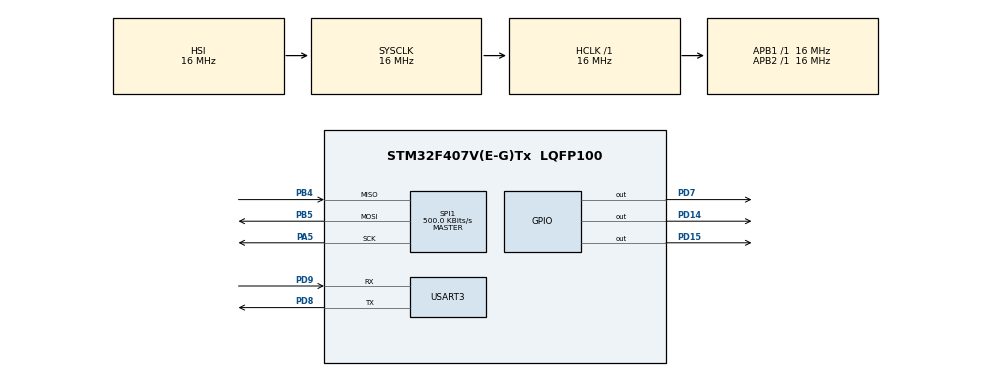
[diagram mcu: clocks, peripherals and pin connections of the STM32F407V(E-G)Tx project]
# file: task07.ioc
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Mcu.Family=STM32F4
Mcu.Name=STM32F407V(E-G)Tx
Mcu.Package=LQFP100
NVIC.PriorityGroup=NVIC_PRIORITYGROUP_4
PA5.Mode=Full_Duplex_Master
PA5.Signal=SPI1_SCK
PB4.Mode=Full_Duplex_Master
PB4.Signal=SPI1_MISO
PB5.Mode=Full_Duplex_Master
PB5.Signal=SPI1_MOSI
PD14.Signal=GPIO_Output
PD15.Signal=GPIO_Output
PD7.Signal=GPIO_Output
PD8.Mode=Asynchronous
PD8.Signal=USART3_TX
PD9.Mode=Asynchronous
PD9.Signal=USART3_RX
ProjectManager.HeapSize=0x200
ProjectManager.StackSize=0x400
ProjectManager.TargetToolchain=STM32CubeIDE
RCC.AHBFreq_Value=16000000
RCC.APB1Freq_Value=16000000
RCC.APB2Freq_Value=16000000
RCC.CortexFreq_Value=16000000
RCC.HSE_VALUE=25000000
RCC.HSI_VALUE=16000000
RCC.LSE_VALUE=32768
RCC.SYSCLKFreq_VALUE=16000000
RCC.VCOOutputFreq_Value=192000000
SPI1.BaudRatePrescaler=SPI_BAUDRATEPRESCALER_32
SPI1.CLKPolarity=SPI_POLARITY_LOW
SPI1.CalculateBaudRate=500.0 KBits/s
SPI1.DataSize=SPI_DATASIZE_8BIT
SPI1.Direction=SPI_DIRECTION_2LINES
SPI1.FirstBit=SPI_FIRSTBIT_MSB
SPI1.Mode=SPI_MODE_MASTER
SPI1.VirtualType=VM_MASTER
USART3.VirtualMode=VM_ASYNC
board=custom

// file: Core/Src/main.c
/* USER CODE BEGIN Header */
/**
  ******************************************************************************
  * @file           : main.c
  * @brief          : Main program body
  ******************************************************************************
  * @attention
  *
  * Copyright (c) 2023 STMicroelectronics.
  * All rights reserved.
  *
  * This software is licensed under terms that can be found in the LICENSE file
  * in the root directory of this software component.
  * If no LICENSE file comes with this software, it is provided AS-IS.
  *
  ******************************************************************************
  */
/* USER CODE END Header */
#include "main.h"

/* USER CODE BEGIN Includes */
#include "stdlib.h"
#include <string.h>
/* USER CODE END Includes */

/* USER CODE BEGIN PD */

#define MEMORY_SIZE 0x1FFFFF // Total size of the SST25VF016B memory in bytes
#define PAGE_SIZE 256 // Size of a memory page in bytes
#define BUFFER_SIZE 1024 // Size of the buffer to read data from the memory

/* USER CODE END PD */

SPI_HandleTypeDef hspi1;

UART_HandleTypeDef huart3;

/* USER CODE BEGIN PV */

uint8_t dataI[BUFFER_SIZE] = { 0 };

/* USER CODE END PV */

void SystemClock_Config(void);
static void MX_GPIO_Init(void);
static void MX_SPI1_Init(void);
static void MX_USART3_UART_Init(void);
/* USER CODE BEGIN PFP */

void readDataFromFlash();
void writeByteDataInFlash();
void writeAAIDataInFlash(char* message);
void openBlockDataProtectionFlash();

/* USER CODE END PFP */

/* USER CODE BEGIN 0 */

typedef enum
{
	NO =  0,
	YES = 1
} read_data_t;

read_data_t readData = NO;

char textForSend[] = 	" From: Svyatoslav Dombrovskyi, svyat.xxi@gmail.com \r\n"
						" Mentor: Artem Dovhal, artem.dovhal@globallogic.com \r\n"
						" Date: 28.03.2023 \r\n"
						" TIME CAPSULE \r\n"
						"Real human being \r\n"
						"And a real hero \r\n"
						"Back against the wall and odds \r\n"
						"With the strength of a will and a cause \r\n"
						"Your pursuits are called outstanding \r\n"
						"You're emotionally complex \r\n"
						"Against the grain of dystopic claims \r\n"
						"Not the thoughts your actions entertain \r\n"
						"And you have proved to be \r\n"
						"A real human being and a real hero \r\n"
						"Real human being and a real hero x3 \r\n"
						"Real human being \r\n";
/*						"A pilot on a cold, cold morn' \r\n"
						"155 people on board \r\n"
						"All safe and all rescued \r\n"
						"From the slowly sinking ship \r\n"
						"Water warmer than his head so cool \r\n"
						"In that tight bind knew what to do \r\n"
						"And you have proved to be \r\n"
						"A real human being and a real hero \r\n"
						"Real human being and a real hero x3 \r\n"
						"Real human being x3 \r\n";*/

/* USER CODE END 0 */

int main(void)
{

  /* MCU Configuration--------------------------------------------------------*/

  /* Reset of all peripherals, Initializes the Flash interface and the Systick. */
  HAL_Init();

  /* Configure the system clock */
  SystemClock_Config();

  /* Initialize all configured peripherals */
  MX_GPIO_Init();
  MX_SPI1_Init();
  MX_USART3_UART_Init();

  /* Infinite loop */
  /* USER CODE BEGIN WHILE */

  // CS = HIGH
  HAL_GPIO_WritePin(GPIOD, GPIO_PIN_7, GPIO_PIN_SET);
  HAL_Delay(100);

  // Prepare Transmit and Receive Arrays
  uint8_t TransmitArray[20] = { 0 };
  uint8_t ReceiveArray[20]  = { 0 };

  //Prepare READ-ID command
  TransmitArray[0] = 0x05;

  while (1)
  {
		uint8_t rcvBuf[1];
		HAL_StatusTypeDef result;

		result = HAL_UART_Receive(&huart3, rcvBuf, 1, 10);

		if (result == HAL_OK)
		{
			if (rcvBuf[0] == 's') //show data
			{
				if (readData == YES)
				{
					HAL_GPIO_TogglePin(GPIOD, GPIO_PIN_15);
					HAL_UART_Transmit(&huart3, (uint8_t *)dataI, BUFFER_SIZE, HAL_MAX_DELAY);
				}
				else
				{
					char message[] = "First read data from flash\r\n";
					HAL_UART_Transmit(&huart3, (uint8_t *) message, sizeof(message), 100);
				}
				HAL_Delay(1000);
			}

			if (rcvBuf[0] == 'r') //read data from flash
			{
				  HAL_UART_Transmit(&huart3, (uint8_t *)"Reading...\r\n", 12, 100);
				  readDataFromFlash();
				  HAL_UART_Transmit(&huart3, (uint8_t *)"\r\ndata was read", 16, 100);
				  HAL_Delay(1000);
			}

			if (rcvBuf[0] == 'w') //write data in flash
			{
				  HAL_UART_Transmit(&huart3, (uint8_t *)"Writing...", 10, 100);
				  writeByteDataInFlash();
				  HAL_UART_Transmit(&huart3, (uint8_t *)"Data was write", 14, 100);
				  HAL_Delay(1000);
			}

			if (rcvBuf[0] == 'a') //auto address increment write data in flash
			{
				  HAL_UART_Transmit(&huart3, (uint8_t *)"Writing AAI...", 13, 100);
				  writeAAIDataInFlash(textForSend);
				  HAL_UART_Transmit(&huart3, (uint8_t *)"Data was write", 14, 100);
				  HAL_Delay(1000);
			}

			if (rcvBuf[0] == 'c') //auto address increment write data in flash
			{
				  TransmitArray[0] = 0x06; //WREN
				  HAL_GPIO_WritePin(GPIOD, GPIO_PIN_7, GPIO_PIN_RESET);
				  HAL_SPI_Transmit(&hspi1, TransmitArray, 1, 100);
				  HAL_GPIO_WritePin(GPIOD, GPIO_PIN_7, GPIO_PIN_SET);

				  TransmitArray[0] = 0x60;  //clear cheap

				  HAL_UART_Transmit(&huart3, (uint8_t *)"Clear chip...", 13, 100);

				  HAL_GPIO_WritePin(GPIOD, GPIO_PIN_7, GPIO_PIN_RESET);
				  HAL_SPI_Transmit(&hspi1, TransmitArray, 1, 1000);
				  HAL_GPIO_WritePin(GPIOD, GPIO_PIN_7, GPIO_PIN_SET);

				  HAL_UART_Transmit(&huart3, (uint8_t *)"Cleared chip...", 15, 100);
				  HAL_Delay(1000);
			}

			if (rcvBuf[0] == 'x') //read register data from flash
			{
				  TransmitArray[0] = 0x05;

				  HAL_UART_Transmit(&huart3, (uint8_t *)"Read register data...\r\n", 23, 100);

				  HAL_GPIO_WritePin(GPIOD, GPIO_PIN_7, GPIO_PIN_RESET);
				  HAL_SPI_Transmit(&hspi1, TransmitArray, 1, 100);
				  HAL_SPI_Receive(&hspi1, ReceiveArray, 1, 100);
				  HAL_GPIO_WritePin(GPIOD, GPIO_PIN_7, GPIO_PIN_SET);

				  char binString[8] = { '0' };
				  itoa(ReceiveArray[0], binString, 2);
				  HAL_UART_Transmit(&huart3, (uint8_t *)binString, strlen(binString), 100);
				  HAL_Delay(1000);
			}

			if (rcvBuf[0] == 'e') //WREN
			{
				TransmitArray[0] = 0x06;

				HAL_UART_Transmit(&huart3, (uint8_t *)"WREN...", 8, 100);

				HAL_GPIO_WritePin(GPIOD, GPIO_PIN_7, GPIO_PIN_RESET);
				HAL_SPI_Transmit(&hspi1, TransmitArray, 1, 100);
				HAL_GPIO_WritePin(GPIOD, GPIO_PIN_7, GPIO_PIN_SET);

				HAL_UART_Transmit(&huart3, (uint8_t *)"WREN.OK", 8, 100);
				HAL_Delay(1000);
			}

			if (rcvBuf[0] == 'o') //Open block write protection
			{
				HAL_UART_Transmit(&huart3, (uint8_t *)"Open BWP...\r\n", 13, 100);
				openBlockDataProtectionFlash();
				HAL_UART_Transmit(&huart3, (uint8_t *)"BWP is disable", 14, 100);
				HAL_Delay(1000);
			}
		}

	HAL_Delay(100);

    /* USER CODE END WHILE */

  }
}

void SystemClock_Config(void)
{
  RCC_OscInitTypeDef RCC_OscInitStruct = {0};
  RCC_ClkInitTypeDef RCC_ClkInitStruct = {0};

  /** Configure the main internal regulator output voltage
  */
  __HAL_RCC_PWR_CLK_ENABLE();
  __HAL_PWR_VOLTAGESCALING_CONFIG(PWR_REGULATOR_VOLTAGE_SCALE1);

  /** Initializes the RCC Oscillators according to the specified parameters
  * in the RCC_OscInitTypeDef structure.
  */
  RCC_OscInitStruct.OscillatorType = RCC_OSCILLATORTYPE_HSI;
  RCC_OscInitStruct.HSIState = RCC_HSI_ON;
  RCC_OscInitStruct.HSICalibrationValue = RCC_HSICALIBRATION_DEFAULT;
  RCC_OscInitStruct.PLL.PLLState = RCC_PLL_NONE;
  if (HAL_RCC_OscConfig(&RCC_OscInitStruct) != HAL_OK)
  {
    Error_Handler();
  }

  /** Initializes the CPU, AHB and APB buses clocks
  */
  RCC_ClkInitStruct.ClockType = RCC_CLOCKTYPE_HCLK|RCC_CLOCKTYPE_SYSCLK
                              |RCC_CLOCKTYPE_PCLK1|RCC_CLOCKTYPE_PCLK2;
  RCC_ClkInitStruct.SYSCLKSource = RCC_SYSCLKSOURCE_HSI;
  RCC_ClkInitStruct.AHBCLKDivider = RCC_SYSCLK_DIV1;
  RCC_ClkInitStruct.APB1CLKDivider = RCC_HCLK_DIV1;
  RCC_ClkInitStruct.APB2CLKDivider = RCC_HCLK_DIV1;

  if (HAL_RCC_ClockConfig(&RCC_ClkInitStruct, FLASH_LATENCY_0) != HAL_OK)
  {
    Error_Handler();
  }
}

static void MX_SPI1_Init(void)
{

  /* SPI1 parameter configuration*/
  hspi1.Instance = SPI1;
  hspi1.Init.Mode = SPI_MODE_MASTER;
  hspi1.Init.Direction = SPI_DIRECTION_2LINES;
  hspi1.Init.DataSize = SPI_DATASIZE_8BIT;
  hspi1.Init.CLKPolarity = SPI_POLARITY_LOW;
  hspi1.Init.CLKPhase = SPI_PHASE_1EDGE;
  hspi1.Init.NSS = SPI_NSS_SOFT;
  hspi1.Init.BaudRatePrescaler = SPI_BAUDRATEPRESCALER_32;
  hspi1.Init.FirstBit = SPI_FIRSTBIT_MSB;
  hspi1.Init.TIMode = SPI_TIMODE_DISABLE;
  hspi1.Init.CRCCalculation = SPI_CRCCALCULATION_DISABLE;
  hspi1.Init.CRCPolynomial = 10;
  if (HAL_SPI_Init(&hspi1) != HAL_OK)
  {
    Error_Handler();
  }

}

static void MX_USART3_UART_Init(void)
{

  huart3.Instance = USART3;
  huart3.Init.BaudRate = 115200;
  huart3.Init.WordLength = UART_WORDLENGTH_8B;
  huart3.Init.StopBits = UART_STOPBITS_1;
  huart3.Init.Parity = UART_PARITY_NONE;
  huart3.Init.Mode = UART_MODE_TX_RX;
  huart3.Init.HwFlowCtl = UART_HWCONTROL_NONE;
  huart3.Init.OverSampling = UART_OVERSAMPLING_16;
  if (HAL_UART_Init(&huart3) != HAL_OK)
  {
    Error_Handler();
  }

}

static void MX_GPIO_Init(void)
{
  GPIO_InitTypeDef GPIO_InitStruct = {0};

  /* GPIO Ports Clock Enable */
  __HAL_RCC_GPIOA_CLK_ENABLE();
  __HAL_RCC_GPIOD_CLK_ENABLE();
  __HAL_RCC_GPIOB_CLK_ENABLE();

  /*Configure GPIO pin Output Level */
  HAL_GPIO_WritePin(GPIOD, GPIO_PIN_14|GPIO_PIN_15|GPIO_PIN_7, GPIO_PIN_RESET);

  /*Configure GPIO pins : PD14 PD15 PD7 */
  GPIO_InitStruct.Pin = GPIO_PIN_14|GPIO_PIN_15|GPIO_PIN_7;
  GPIO_InitStruct.Mode = GPIO_MODE_OUTPUT_PP;
  GPIO_InitStruct.Pull = GPIO_NOPULL;
  GPIO_InitStruct.Speed = GPIO_SPEED_FREQ_LOW;
  HAL_GPIO_Init(GPIOD, &GPIO_InitStruct);

}

/* USER CODE BEGIN 4 */

void readDataFromFlash()
{
	uint8_t buffer[BUFFER_SIZE] = { 0 };
	uint32_t address;

	for (uint32_t j = 0; j < BUFFER_SIZE; ++j)
	{
		dataI[j] = 0;
	}

	HAL_GPIO_WritePin(GPIOD, GPIO_PIN_14, GPIO_PIN_SET); //red LED on
	address = 0;
	for (address = 0; address < MEMORY_SIZE+1; address += BUFFER_SIZE)
	{
		// Set the chip select signal low to select the SST25VF016B memory
		HAL_GPIO_WritePin(GPIOD, GPIO_PIN_7, GPIO_PIN_RESET);

		// Send the Read command (0x03) and address to the memory
		uint8_t address_bytes[20];
		address_bytes[0] = (address >> 16) & 0xFF;
		address_bytes[1] = (address >> 8) & 0xFF;
		address_bytes[2] = address & 0xFF;
		HAL_SPI_Transmit(&hspi1, (uint8_t[]) {0x03, address_bytes[0], address_bytes[1], address_bytes[2]}, 4, 100);

		// Receive data from the memory into the buffer
		HAL_SPI_Receive(&hspi1, buffer, BUFFER_SIZE, 1000);

		// Set the chip select signal high to deselect the SST25VF016B memory
		HAL_GPIO_WritePin(GPIOD, GPIO_PIN_7, GPIO_PIN_SET);

		for (uint16_t i = 0; i < BUFFER_SIZE; ++i)
		{
			if (buffer[i] != 255)
			{
				dataI[dataCounter++] = buffer[i];
			}
		}
  }

  HAL_GPIO_WritePin(GPIOD, GPIO_PIN_14, GPIO_PIN_RESET); //red LED off

  readData = YES;

  HAL_UART_Transmit(&huart3, (uint8_t *)dataI, BUFFER_SIZE, 1000);
}

void writeByteDataInFlash()
{
	uint8_t TransmitArray[5] = { 0 };

	//Prepare WRITE-ENABLE (WREN) command
	TransmitArray[0] = 0x06;

	HAL_GPIO_WritePin(GPIOD, GPIO_PIN_7, GPIO_PIN_RESET); 	// CS = LOW
	HAL_SPI_Transmit(&hspi1, TransmitArray, 1, 100);
	HAL_GPIO_WritePin(GPIOD, GPIO_PIN_7, GPIO_PIN_SET); 	// CS = HIGH

	//Prepare BYTE-PROGRAM command with address and data
	TransmitArray[0] = 0x02;
	TransmitArray[1] = 0x00;
	TransmitArray[2] = 0x00;
	TransmitArray[3] = 0x02;
	//data
	TransmitArray[4] = 0x23;

	HAL_GPIO_WritePin(GPIOD, GPIO_PIN_7, GPIO_PIN_RESET);	// CS = LOW
	HAL_SPI_Transmit(&hspi1, TransmitArray, 5, 100);
	HAL_GPIO_WritePin(GPIOD, GPIO_PIN_7, GPIO_PIN_SET);		// CS = HIGH

	//Prepare WRITE-DISABLE (WRDI) command
	TransmitArray[0] = 0x04;

	HAL_GPIO_WritePin(GPIOD, GPIO_PIN_7, GPIO_PIN_RESET); 	// CS = LOW
	HAL_SPI_Transmit(&hspi1, TransmitArray, 1, 100);
	HAL_GPIO_WritePin(GPIOD, GPIO_PIN_7, GPIO_PIN_SET); 	// CS = HIGH

}

void writeAAIDataInFlash(char* message)
{
	uint8_t TransmitArray[6] = { 0 };
	uint8_t counterAddr = 0;

//	//Enable SO to output (EBSY) command
//	TransmitArray[0] = 0x70;
//
//	HAL_GPIO_WritePin(GPIOD, GPIO_PIN_7, GPIO_PIN_RESET); 	// CS = LOW
//	HAL_SPI_Transmit(&hspi1, TransmitArray, 1, 100);
//	HAL_GPIO_WritePin(GPIOD, GPIO_PIN_7, GPIO_PIN_SET); 	// CS = HIGH

	uint8_t address[3] = { 0 };

	address[0] = 0x00;
	address[1] = 0x00;
	address[2] = 0x00;

	uint16_t i = 0;

	while(i < strlen(message))
	{
		//Prepare WRITE-ENABLE (WREN) command
		TransmitArray[0] = 0x06;

		HAL_GPIO_WritePin(GPIOD, GPIO_PIN_7, GPIO_PIN_RESET); 	// CS = LOW
		HAL_SPI_Transmit(&hspi1, TransmitArray, 1, 100);
		HAL_GPIO_WritePin(GPIOD, GPIO_PIN_7, GPIO_PIN_SET); 	// CS = HIGH

		//AII command
		TransmitArray[0] = 0xAD;
		TransmitArray[1] = address[0];
		TransmitArray[2] = address[1];
		TransmitArray[3] = address[2];
		//data
		TransmitArray[4] = message[i++];
		TransmitArray[5] = message[i++];

		HAL_GPIO_WritePin(GPIOD, GPIO_PIN_7, GPIO_PIN_RESET);	// CS = LOW
		HAL_SPI_Transmit(&hspi1, TransmitArray, 6, 100);
		HAL_GPIO_WritePin(GPIOD, GPIO_PIN_7, GPIO_PIN_SET);		// CS = HIGH

		for ( ; i < strlen(message); i+=2)
		{
			//AAI command
			TransmitArray[0] = 0xAD;
			//data
			TransmitArray[1] = message[i];
			TransmitArray[2] = message[i+1];

			if (message[i] == '\n')
			{
				TransmitArray[2] = 0;
				i--;
			}

			HAL_GPIO_WritePin(GPIOD, GPIO_PIN_7, GPIO_PIN_RESET);	// CS = LOW
			HAL_SPI_Transmit(&hspi1, TransmitArray, 3, 100);
			HAL_GPIO_WritePin(GPIOD, GPIO_PIN_7, GPIO_PIN_SET);		// CS = HIGH

			if (message[i+1] == '\n' || message[i] == '\n')
			{
				counterAddr++;
				address[0] = (0x10 * counterAddr) / 100;
				address[1] = (0x10 * counterAddr) % 100;
				address[2] = 0x00;
				i+=2;
				break;
			}

		}

		//Prepare WRITE-DISABLE (WRDI) command
		TransmitArray[0] = 0x04;

		HAL_GPIO_WritePin(GPIOD, GPIO_PIN_7, GPIO_PIN_RESET); 	// CS = LOW
		HAL_SPI_Transmit(&hspi1, TransmitArray, 1, 100);
		HAL_GPIO_WritePin(GPIOD, GPIO_PIN_7, GPIO_PIN_SET); 	// CS = HIGH
	}

//	//Disable SO as RY/BY (DBSY) command
//	TransmitArray[0] = 0x80;
//
//	HAL_GPIO_WritePin(GPIOD, GPIO_PIN_7, GPIO_PIN_RESET); 	// CS = LOW
//	HAL_SPI_Transmit(&hspi1, TransmitArray, 1, 100);
//	HAL_GPIO_WritePin(GPIOD, GPIO_PIN_7, GPIO_PIN_SET); 	// CS = HIGH
}

void openBlockDataProtectionFlash()
{
	uint8_t TransmitArray[2] = { 0 };

	//Write-Status-Register
	TransmitArray[0] = 0x50;

	HAL_GPIO_WritePin(GPIOD, GPIO_PIN_7, GPIO_PIN_RESET); 	// CS = LOW
	HAL_SPI_Transmit(&hspi1, TransmitArray, 1, 100);
	HAL_GPIO_WritePin(GPIOD, GPIO_PIN_7, GPIO_PIN_SET); 	// CS = HIGH

	//Enable-Write-Status-Registerb
	TransmitArray[0] = 0x01;
	TransmitArray[1] = 0x00; //all 0

	HAL_GPIO_WritePin(GPIOD, GPIO_PIN_7, GPIO_PIN_RESET); 	// CS = LOW
	HAL_SPI_Transmit(&hspi1, TransmitArray, 2, 100);
	HAL_GPIO_WritePin(GPIOD, GPIO_PIN_7, GPIO_PIN_SET); 	// CS = HIGH
}

/* USER CODE END 4 */

void Error_Handler(void)
{
  __disable_irq();
  while (1)
  {
  }
}
